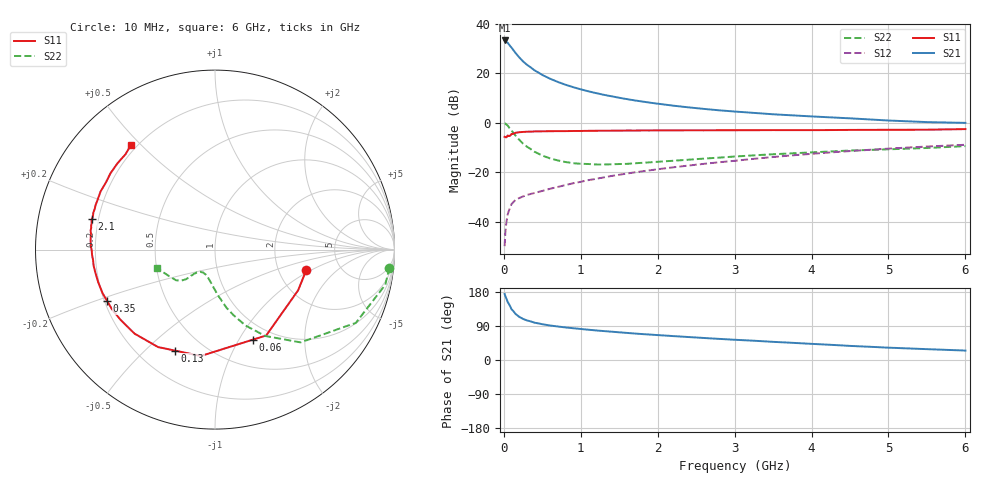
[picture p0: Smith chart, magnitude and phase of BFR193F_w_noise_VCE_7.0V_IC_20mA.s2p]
! Infineon Technologies  Discrete & RF Semiconductors
! BFR193F
! VCE =  7.0 V,  IC =  20 mA
! Common Emitter S-Parameters:  Jan 2017
# GHz  S  MA  R  50
!  f  S11  S21  S12  S22
! GHz  MAG  ANG  MAG  ANG  MAG  ANG  MAG  ANG
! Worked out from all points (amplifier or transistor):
!   77 points, 10 MHz to 6 GHz, reference 50 ohm
!   highest |S21| = 33.4 dB at 10 MHz (marker M1)
!   |S21| within 3 dB of that: start of sweep to 102.4 MHz
!   unconditionally stable (mu >= 1): 1.299 GHz to 2.724 GHz
!   at 130 MHz: K = 0.28, MSG = 30.5 dB, |S12| = -31.9 dB
!   at 2.2 GHz: K = 1.02, MAG = 11.5 dB, |S12| = -18.0 dB
!   at 6 GHz: K = 0.83, MSG = 4.4 dB, |S12| = -8.9 dB
!   lowest NFmin = 1.04 dB at 450 MHz
!   S11 on the Smith chart (normalised r, x): 10 MHz: 2.88, -0.89; 60 MHz: 0.81, -1.15; 130 MHz: 0.35, -0.62; 350 MHz: 0.21, -0.22; 2.1 GHz: 0.18, +0.12; 6 GHz: 0.18, +0.47
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0.01  0.5217 -12.4  46.61 174.3  0.0032 81.9  0.977 -5.9
0.02  0.5157 -26.1  45.63 168.3  0.0062 81.3  0.9689 -11.7
0.05  0.5571 -59.2  41.94 153.1  0.014 69.4  0.8845 -27.5
0.06  0.5445 -67.0  39.91 149.9  0.0157 65.6  0.8413 -30.7
0.1  0.598 -97.6  33.37 133.8  0.0227 56.2  0.7034 -47.3
0.13  0.6051 -111.5  28.94 127.4  0.0255 51.1  0.6119 -54.1
0.15  0.6289 -120.3  26.24 121.9  0.0275 48.3  0.557 -59.8
0.2  0.6483 -133.8  21.21 113.9  0.0301 45.4  0.4559 -68.1
0.25  0.6559 -143.6  17.59 108.4  0.0325 45.2  0.38 -74.2
0.3  0.6634 -150.0  15.02 104.4  0.0348 46.4  0.3305 -78.8
0.35  0.6657 -154.5  13.26 101.8  0.0365 47.3  0.2946 -81.8
0.4  0.672 -158.9  11.54 98.4  0.0382 48.2  0.2598 -85.7
0.5  0.6758 -164.6  9.343 94.4  0.042 51.2  0.2183 -91.1
0.6  0.6788 -169.0  7.85 91.1  0.0464 53.4  0.1915 -95.7
0.8  0.6819 -175.1  5.93 86.0  0.0551 58.6  0.1617 -103.6
1.1  0.691 178.7  4.356 79.9  0.0695 62.8  0.1472 -112.8
1.5  0.6967 172.7  3.227 73.1  0.0891 66.7  0.147 -121.8
2.1  0.7057 165.9  2.341 64.5  0.1206 69.5  0.1673 -129.2
3.1  0.7107 156.8  1.657 52.4  0.1775 70.5  0.2133 -133.0
4.1  0.7147 147.6  1.329 41.6  0.243 68.1  0.2574 -138.1
5.1  0.7256 137.4  1.101 31.8  0.3076 63.3  0.2957 -150.1
6  0.7488 128.6  1.001 24.9  0.3607 58.3  0.3391 -162.1
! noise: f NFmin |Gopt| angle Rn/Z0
0.45  1.04  0.33  168  0.06
0.9  1.12  0.39  169  0.07
1.9  1.71  0.57  -171  0.06
2.4  2.01  0.61  -161  0.1
